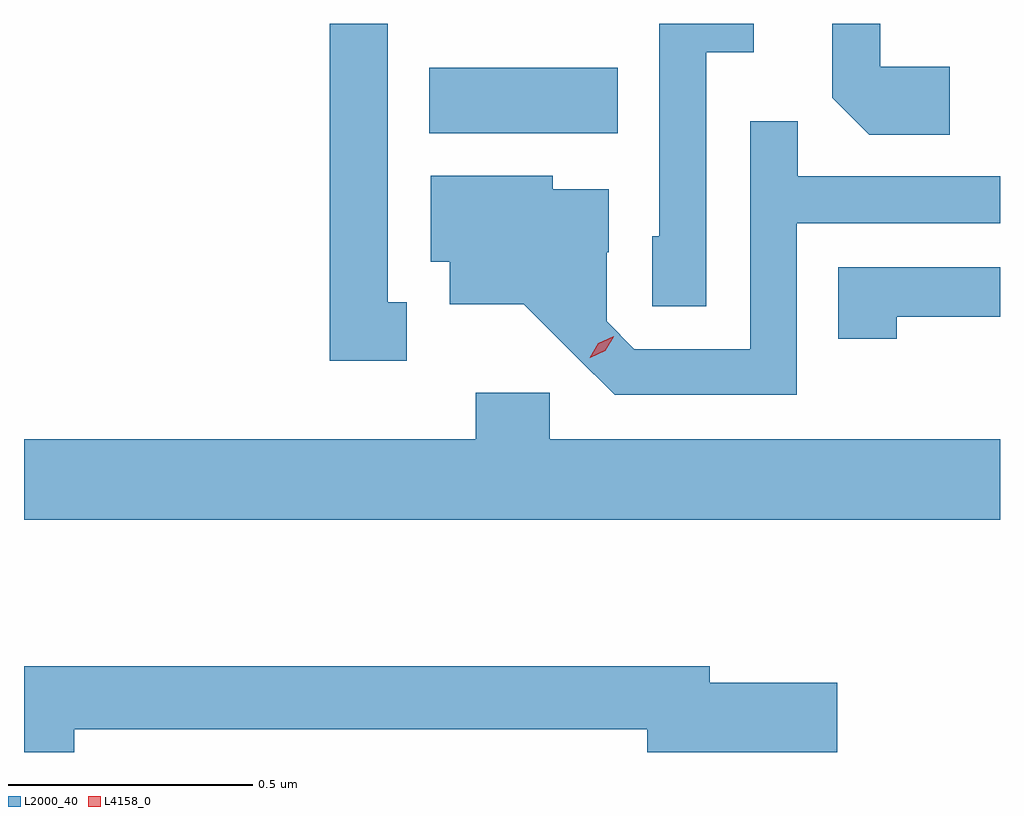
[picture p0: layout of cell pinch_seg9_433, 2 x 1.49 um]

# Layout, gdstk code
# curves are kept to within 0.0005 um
import gdstk
lib = gdstk.Library(unit=1e-6, precision=1e-09)
def R(c, l, rs):  # rectangles x0, y0, x1, y1
    for r in rs: c.add(gdstk.rectangle(r[:2], r[2:], *l))
def P(c, l, *ps):  # polygons
    for p in ps: c.add(gdstk.Polygon(p, *l))
L2000_40 = (2000, 40)
L4158_0 = (4158, 0)

pinch_seg9_433 = lib.new_cell('pinch_seg9_433')
R(pinch_seg9_433, L2000_40, [(232.163,1245.164,232.55,1245.298)])
P(pinch_seg9_433, L2000_40, [(232.117,1244.817),(232.078,1244.817),(232.078,1245.388),(231.96,1245.388),(231.96,1244.697),(232.117,1244.697)],
  [(233.23,1245.3),(233.088,1245.3),(233.088,1245.388),(232.989,1245.388),(232.989,1245.236),(233.065,1245.16),(233.23,1245.16)],
  [(232.731,1245.329),(232.828,1245.329),(232.828,1245.388),(232.635,1245.388),(232.635,1244.952),(232.62,1244.952),(232.62,1244.809),(232.731,1244.809)],
  [(232.917,1244.979),(233.333,1244.979),(233.333,1245.075),(232.919,1245.075),(232.919,1245.188),(232.821,1245.188),(232.821,1244.721),(232.584,1244.721),(232.527,1244.778),(232.527,1244.92),(232.531,1244.92),(232.531,1245.049),(232.416,1245.049),(232.416,1245.076),(232.166,1245.076),(232.166,1244.9),(232.205,1244.9),(232.205,1244.813),(232.357,1244.813),(232.544,1244.628),(232.917,1244.628)],
  [(233.121,1244.788),(233.333,1244.788),(233.333,1244.889),(233.002,1244.889),(233.002,1244.742),(233.121,1244.742)],
  [(233.333,1244.536),(232.41,1244.536),(232.41,1244.632),(232.259,1244.632),(232.259,1244.536),(231.333,1244.536),(231.333,1244.372),(233.333,1244.372)],
  [(231.436,1243.942),(232.61,1243.942),(232.61,1243.895),(232.999,1243.895),(232.999,1244.037),(232.738,1244.037),(232.738,1244.071),(231.333,1244.071),(231.333,1243.895),(231.436,1243.895)])
P(pinch_seg9_433, L4158_0, [(232.492,1244.703),(232.492,1244.703),(232.51,1244.733),(232.541,1244.748),(232.541,1244.748),(232.541,1244.747),(232.524,1244.718),(232.493,1244.703)])

lib.write_gds('pinch_seg9_433.gds')
